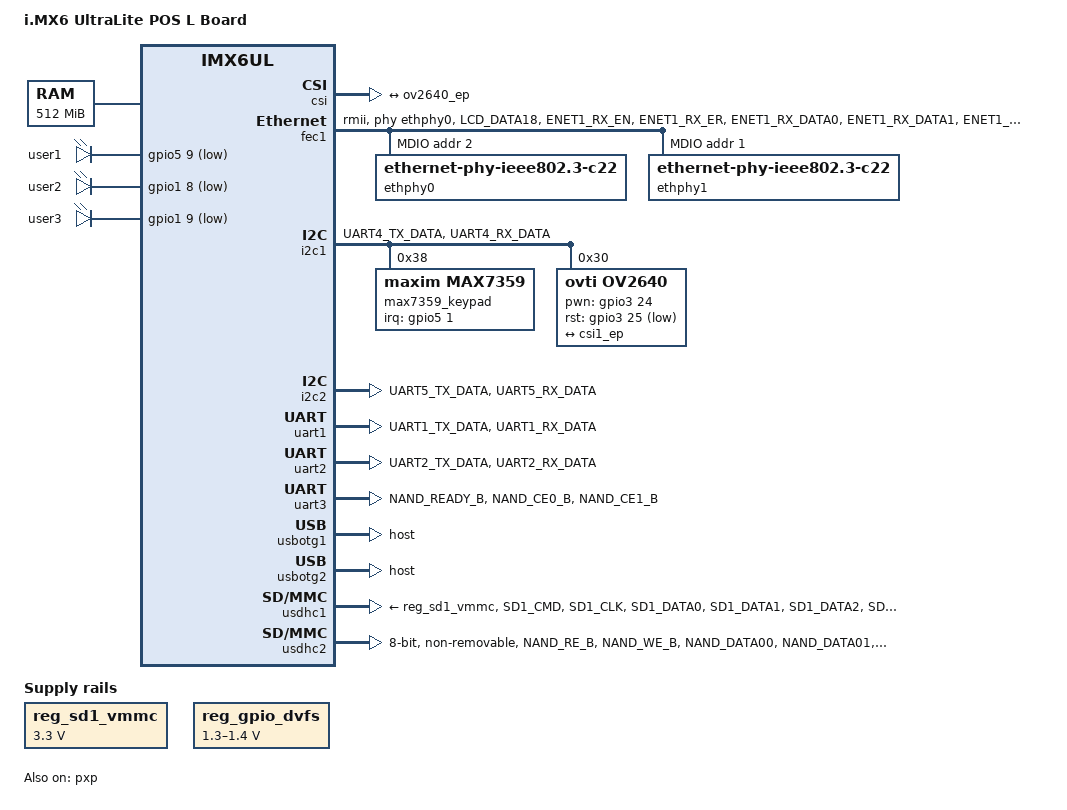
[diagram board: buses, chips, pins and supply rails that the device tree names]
/*
 * Copyright (C) 2015 Freescale Semiconductor, Inc.
 *
 * This program is free software; you can redistribute it and/or modify
 * it under the terms of the GNU General Public License version 2 as
 * published by the Free Software Foundation.
 */

/dts-v1/;

#include <dt-bindings/input/input.h>
#include "imx6ul.dtsi"

/ {
	model = "i.MX6 UltraLite POS L Board";
	compatible = "fsl,imx6ul-14x14-evk", "fsl,imx6ul";

	chosen {
		stdout-path = &uart1;
	};

	memory {
		reg = <0x80000000 0x20000000>;
	};

	reserved-memory {
		#address-cells = <1>;
		#size-cells = <1>;
		ranges;

		linux,cma {
			compatible = "shared-dma-pool";
			reusable;
			size = <0x14000000>;
			linux,cma-default;
		};
	};

	pxp_v4l2 {
		compatible = "fsl,imx6ul-pxp-v4l2", "fsl,imx6sx-pxp-v4l2", "fsl,imx6sl-pxp-v4l2";
		status = "okay";
	};

	regulators {
		compatible = "simple-bus";
		#address-cells = <1>;
		#size-cells = <0>;

		reg_sd1_vmmc: regulator@1 {
			compatible = "regulator-fixed";
			regulator-name = "VSD_3V3";
			regulator-min-microvolt = <3300000>;
			regulator-max-microvolt = <3300000>;
		};

		reg_gpio_dvfs: regulator-gpio {
			compatible = "regulator-gpio";
			pinctrl-names = "default";
			pinctrl-0 = <&pinctrl_dvfs>;
			regulator-min-microvolt = <1300000>;
			regulator-max-microvolt = <1400000>;
			regulator-name = "gpio_dvfs";
			regulator-type = "voltage";
			gpios = <&gpio5 3 GPIO_ACTIVE_HIGH>;
			states = <1300000 0x1 1400000 0x0>;
		};
	};

	leds {
		compatible = "gpio-leds";
		pinctrl-names = "default";
		pinctrl-0 = <&pinctrl_gpio_leds>;

		led0: user1 {
			label = "user1";
			gpios = <&gpio5 9 GPIO_ACTIVE_LOW>; /* 102 -> MX6_PANLEDG */
			default-state = "off";
			linux,default-trigger = "heartbeat";
		};

		led1: user2 {
			label = "user2";
			gpios = <&gpio1 8 GPIO_ACTIVE_LOW>; /* 106 -> MX6_PANLEDR */
			default-state = "off";
			linux,default-trigger = "mmc0";
		};

		led2: user3 {
			label = "user3";
			gpios = <&gpio1 9 GPIO_ACTIVE_LOW>; /* 111 -> MX6_LOCLED# */
			default-state = "off";
			linux,default-trigger = "mmc1";
		};
	};
};

&cpu0 {
	arm-supply = <&reg_arm>;
	soc-supply = <&reg_soc>;
	dc-supply = <&reg_gpio_dvfs>;
};

&clks {
	assigned-clocks = <&clks IMX6UL_CLK_PLL4_AUDIO_DIV>;
	assigned-clock-rates = <786432000>;
};

&csi {
	status = "okay";

	port {
		csi1_ep: endpoint {
			remote-endpoint = <&ov2640_ep>;
		};
	};
};

&fec1 {
	pinctrl-names = "default";
	pinctrl-0 = <&pinctrl_enet1>;
	phy-mode = "rmii";
	phy-handle = <&ethphy0>;
	phy-reset-gpios = <&gpio3 23 GPIO_ACTIVE_LOW>;
	phy-reset-duration = <100>;
	status = "okay";
	
	mdio {
		#address-cells = <1>;
		#size-cells = <0>;

		ethphy0: ethernet-phy@2 {
			compatible = "ethernet-phy-ieee802.3-c22";
			reg = <2>;
		};
		ethphy1: ethernet-phy@1 {
			compatible = "ethernet-phy-ieee802.3-c22";
			reg = <1>;
		};
	};
};

&fec2 {
	pinctrl-names = "default";
	pinctrl-0 = <&pinctrl_enet2>;
	phy-mode = "rmii";
	phy-handle = <&ethphy1>;
	status = "disabled";
};

&gpc {
	fsl,cpu_pupscr_sw2iso = <0x1>;
	fsl,cpu_pupscr_sw = <0x0>;
	fsl,cpu_pdnscr_iso2sw = <0x1>;
	fsl,cpu_pdnscr_iso = <0x1>;
	fsl,ldo-bypass = <0>; /* DCDC, ldo-enable */
};

&i2c1 {
	clock_frequency = <100000>;
	pinctrl-names = "default";
	pinctrl-0 = <&pinctrl_i2c1>;
	status = "okay";
	/* maxim keyboard max7359 */
	max7359_keypad@38 {
		pinctrl-0 = <&pinctrl_max7359>;
		compatible = "maxim,max7359";
		reg = <0x38>;
		interrupts = <1 IRQ_TYPE_LEVEL_LOW>;	/* gpio5[1] */
		interrupt-parent = <&gpio5>;
		maxim,debounce_reg = /bits/ 8 <0x1F>;
		maxim,ports_reg = /bits/ 8 <0xFF>;
		linux,keymap = <
			MATRIX_KEY(0, 0, KEY_1) /* row 0 col 0 */
			MATRIX_KEY(1, 0, KEY_2) /* row 1 col 0 */
			MATRIX_KEY(2, 0, KEY_3)
			MATRIX_KEY(3, 0, KEY_0)	/* s col 0~2 row 0~3*/
						
			MATRIX_KEY(0, 1, KEY_4)
			MATRIX_KEY(1, 1, KEY_5)
			MATRIX_KEY(2, 1, KEY_6)
			MATRIX_KEY(3, 1, KEY_BACKSPACE)

			MATRIX_KEY(0, 2, KEY_7)
			MATRIX_KEY(1, 2, KEY_8)
			MATRIX_KEY(2, 2, KEY_9)
			MATRIX_KEY(3, 2, KEY_ENTER)

			/* big key board row4..7 - col3..7 */
			MATRIX_KEY(4, 3, KEY_KP1)
			MATRIX_KEY(4, 4, KEY_KP2)
			MATRIX_KEY(4, 5, KEY_KP3)
			MATRIX_KEY(4, 6, KEY_A)
			MATRIX_KEY(4, 7, KEY_NUMLOCK)

			MATRIX_KEY(5, 3, KEY_KP4)
			MATRIX_KEY(5, 4, KEY_KP5)
			MATRIX_KEY(5, 5, KEY_KP6)
			MATRIX_KEY(5, 6, KEY_B)
			MATRIX_KEY(5, 7, KEY_KPPLUS)

			MATRIX_KEY(6, 3, KEY_KP7)
			MATRIX_KEY(6, 4, KEY_KP8)
			MATRIX_KEY(6, 5, KEY_KP9)
			MATRIX_KEY(6, 6, KEY_KPENTER)
			MATRIX_KEY(6, 7, KEY_RESERVED)

			MATRIX_KEY(7, 3, KEY_D)
			MATRIX_KEY(7, 4, KEY_KP0)
			MATRIX_KEY(7, 5, KEY_E)
			MATRIX_KEY(7, 6, KEY_C)
			MATRIX_KEY(7, 7, KEY_DELETE)

		>;
	};
	/* camera */
	ov2640: ov2640@30 {
		compatible = "ovti,ov2640";
		reg = <0x30>;
		pinctrl-names = "default";
		pinctrl-0 = <&pinctrl_csi1>;
		clocks = <&clks IMX6UL_CLK_CSI>;
		clock-names = "csi_mclk";
		pwn-gpios = <&gpio3 24 GPIO_ACTIVE_HIGH>;
		rst-gpios = <&gpio3 25 GPIO_ACTIVE_LOW>;
		csi_id = <0>;
		mclk = <24000000>;
		mclk_source = <0>;
		status = "okay";
		port {
			ov2640_ep: endpoint {
				remote-endpoint = <&csi1_ep>;
			};
		};
	};
};

&i2c2 {
	clock_frequency = <100000>;
	pinctrl-names = "default";
	pinctrl-0 = <&pinctrl_i2c2>;
	status = "okay";
	/* connect to lcd */
};

&iomuxc {
	pinctrl-names = "default";
	pinctrl-0 = <&pinctrl_hog_1>;
	imx6ul-evk {
		pinctrl_max7359: ma7359grp {
			fsl,pins = <
				MX6UL_PAD_SNVS_TAMPER1__GPIO5_IO01	0x80000000
			>;
		};
		pinctrl_hog_1: hoggrp-1 {
			fsl,pins = <
				MX6UL_PAD_UART1_RTS_B__GPIO1_IO19	0x17059 /* SD1 CD */
				MX6UL_PAD_GPIO1_IO05__USDHC1_VSELECT	0x17059 /* SD1 VSELECT */
				/* MX6UL_PAD_GPIO1_IO09__GPIO1_IO09        0x17059 SD1 RESET */
				MX6UL_PAD_SNVS_TAMPER0__GPIO5_IO00	0x80000000
				MX6UL_PAD_UART2_RTS_B__GPIO1_IO23	0x17059 /* BEEP */
				MX6UL_PAD_LCD_DATA19__GPIO3_IO24	0x17059	/* camera pwdn */
				MX6UL_PAD_LCD_DATA20__GPIO3_IO25	0x17059	/* camera reset */
			>;
		};
		pinctrl_csi1: csi1grp {
			fsl,pins = <
				MX6UL_PAD_CSI_MCLK__CSI_MCLK		0x1b088
				MX6UL_PAD_CSI_PIXCLK__CSI_PIXCLK	0x1b088
				MX6UL_PAD_CSI_VSYNC__CSI_VSYNC		0x1b088
				MX6UL_PAD_CSI_HSYNC__CSI_HSYNC		0x1b088
				MX6UL_PAD_CSI_DATA00__CSI_DATA02	0x1b088
				MX6UL_PAD_CSI_DATA01__CSI_DATA03	0x1b088
				MX6UL_PAD_CSI_DATA02__CSI_DATA04	0x1b088
				MX6UL_PAD_CSI_DATA03__CSI_DATA05	0x1b088
				MX6UL_PAD_CSI_DATA04__CSI_DATA06	0x1b088
				MX6UL_PAD_CSI_DATA05__CSI_DATA07	0x1b088
				MX6UL_PAD_CSI_DATA06__CSI_DATA08	0x1b088
				MX6UL_PAD_CSI_DATA07__CSI_DATA09	0x1b088
			>;
		};
		pinctrl_dvfs: dvfsgrp {
			fsl,pins = <
				MX6UL_PAD_SNVS_TAMPER3__GPIO5_IO03	0x79
			>;
		};

		pinctrl_enet1: enet1grp {
			fsl,pins = <
				MX6UL_PAD_LCD_DATA18__GPIO3_IO23	0x17059
				MX6UL_PAD_ENET1_RX_EN__ENET1_RX_EN	0x1b0b0
				MX6UL_PAD_ENET1_RX_ER__ENET1_RX_ER	0x1b0b0
				MX6UL_PAD_ENET1_RX_DATA0__ENET1_RDATA00	0x1b0b0
				MX6UL_PAD_ENET1_RX_DATA1__ENET1_RDATA01	0x1b0b0
				MX6UL_PAD_ENET1_TX_EN__ENET1_TX_EN	0x1b0b0
				MX6UL_PAD_ENET1_TX_DATA0__ENET1_TDATA00	0x1b0b0
				MX6UL_PAD_ENET1_TX_DATA1__ENET1_TDATA01	0x1b0b0
				MX6UL_PAD_ENET1_TX_CLK__ENET1_REF_CLK1	0x4001b031
				MX6UL_PAD_GPIO1_IO07__ENET1_MDC		0x1b0b0
				MX6UL_PAD_GPIO1_IO06__ENET1_MDIO	0x1b0b0
			>;
		};

		pinctrl_enet2: enet2grp {
			fsl,pins = <
				MX6UL_PAD_ENET2_RX_EN__ENET2_RX_EN	0x1b0b0
				MX6UL_PAD_ENET2_RX_ER__ENET2_RX_ER	0x1b0b0
				MX6UL_PAD_ENET2_RX_DATA0__ENET2_RDATA00	0x1b0b0
				MX6UL_PAD_ENET2_RX_DATA1__ENET2_RDATA01	0x1b0b0
				MX6UL_PAD_ENET2_TX_EN__ENET2_TX_EN	0x1b0b0
				MX6UL_PAD_ENET2_TX_DATA0__ENET2_TDATA00	0x1b0b0
				MX6UL_PAD_ENET2_TX_DATA1__ENET2_TDATA01	0x1b0b0
				MX6UL_PAD_ENET2_TX_CLK__ENET2_REF_CLK2	0x4001b031
			>;
		};

		pinctrl_i2c1: i2c1grp {
			fsl,pins = <
				MX6UL_PAD_UART4_TX_DATA__I2C1_SCL 0x4001b8b0
				MX6UL_PAD_UART4_RX_DATA__I2C1_SDA 0x4001b8b0
			>;
		};

		pinctrl_i2c2: i2c2grp {
			fsl,pins = <
				MX6UL_PAD_UART5_TX_DATA__I2C2_SCL 0x4001b8b0
				MX6UL_PAD_UART5_RX_DATA__I2C2_SDA 0x4001b8b0
			>;
		};

		pinctrl_uart1: uart1grp {
			fsl,pins = <
				MX6UL_PAD_UART1_TX_DATA__UART1_DCE_TX 0x1b0b1
				MX6UL_PAD_UART1_RX_DATA__UART1_DCE_RX 0x1b0b1
			>;
		};

		pinctrl_uart2: uart2grp {
			fsl,pins = <
				MX6UL_PAD_UART2_TX_DATA__UART2_DCE_TX	0x1b0b1
				MX6UL_PAD_UART2_RX_DATA__UART2_DCE_RX	0x1b0b1
			>;
		};
		
		pinctrl_uart3: uart3grp {
			fsl,pins = <
				MX6UL_PAD_NAND_READY_B__UART3_DCE_TX	0x1b0b1
				MX6UL_PAD_NAND_CE0_B__UART3_DCE_RX		0x1b0b1
				MX6UL_PAD_NAND_CE1_B__UART3_DCE_CTS 	0x1b0b1
			>;
		};

		pinctrl_usdhc1: usdhc1grp {
			fsl,pins = <
				MX6UL_PAD_SD1_CMD__USDHC1_CMD     0x17059
				MX6UL_PAD_SD1_CLK__USDHC1_CLK     0x10071
				MX6UL_PAD_SD1_DATA0__USDHC1_DATA0 0x17059
				MX6UL_PAD_SD1_DATA1__USDHC1_DATA1 0x17059
				MX6UL_PAD_SD1_DATA2__USDHC1_DATA2 0x17059
				MX6UL_PAD_SD1_DATA3__USDHC1_DATA3 0x17059
			>;
		};

		pinctrl_usdhc1_100mhz: usdhc1grp100mhz {
			fsl,pins = <
				MX6UL_PAD_SD1_CMD__USDHC1_CMD     0x170b9
				MX6UL_PAD_SD1_CLK__USDHC1_CLK     0x100b9
				MX6UL_PAD_SD1_DATA0__USDHC1_DATA0 0x170b9
				MX6UL_PAD_SD1_DATA1__USDHC1_DATA1 0x170b9
				MX6UL_PAD_SD1_DATA2__USDHC1_DATA2 0x170b9
				MX6UL_PAD_SD1_DATA3__USDHC1_DATA3 0x170b9
			>;
		};

		pinctrl_usdhc1_200mhz: usdhc1grp200mhz {
			fsl,pins = <
				MX6UL_PAD_SD1_CMD__USDHC1_CMD     0x170f9
				MX6UL_PAD_SD1_CLK__USDHC1_CLK     0x100f9
				MX6UL_PAD_SD1_DATA0__USDHC1_DATA0 0x170f9
				MX6UL_PAD_SD1_DATA1__USDHC1_DATA1 0x170f9
				MX6UL_PAD_SD1_DATA2__USDHC1_DATA2 0x170f9
				MX6UL_PAD_SD1_DATA3__USDHC1_DATA3 0x170f9
			>;
		};

		pinctrl_usdhc2: usdhc2grp {
			fsl,pins = <
				MX6UL_PAD_NAND_RE_B__USDHC2_CLK     0x10069
				MX6UL_PAD_NAND_WE_B__USDHC2_CMD     0x17059
				MX6UL_PAD_NAND_DATA00__USDHC2_DATA0 0x17059
				MX6UL_PAD_NAND_DATA01__USDHC2_DATA1 0x17059
				MX6UL_PAD_NAND_DATA02__USDHC2_DATA2 0x17059
				MX6UL_PAD_NAND_DATA03__USDHC2_DATA3 0x17059
			>;
		};

		pinctrl_usdhc2_8bit: usdhc2grp_8bit {
			fsl,pins = <
				MX6UL_PAD_NAND_RE_B__USDHC2_CLK     0x10069
				MX6UL_PAD_NAND_WE_B__USDHC2_CMD     0x17059
				MX6UL_PAD_NAND_DATA00__USDHC2_DATA0 0x17059
				MX6UL_PAD_NAND_DATA01__USDHC2_DATA1 0x17059
				MX6UL_PAD_NAND_DATA02__USDHC2_DATA2 0x17059
				MX6UL_PAD_NAND_DATA03__USDHC2_DATA3 0x17059
				MX6UL_PAD_NAND_DATA04__USDHC2_DATA4 0x17059
				MX6UL_PAD_NAND_DATA05__USDHC2_DATA5 0x17059
				MX6UL_PAD_NAND_DATA06__USDHC2_DATA6 0x17059
				MX6UL_PAD_NAND_DATA07__USDHC2_DATA7 0x17059
			>;
		};

		pinctrl_usdhc2_8bit_100mhz: usdhc2grp_8bit_100mhz {
			fsl,pins = <
				MX6UL_PAD_NAND_RE_B__USDHC2_CLK     0x100b9
				MX6UL_PAD_NAND_WE_B__USDHC2_CMD     0x170b9
				MX6UL_PAD_NAND_DATA00__USDHC2_DATA0 0x170b9
				MX6UL_PAD_NAND_DATA01__USDHC2_DATA1 0x170b9
				MX6UL_PAD_NAND_DATA02__USDHC2_DATA2 0x170b9
				MX6UL_PAD_NAND_DATA03__USDHC2_DATA3 0x170b9
				MX6UL_PAD_NAND_DATA04__USDHC2_DATA4 0x170b9
				MX6UL_PAD_NAND_DATA05__USDHC2_DATA5 0x170b9
				MX6UL_PAD_NAND_DATA06__USDHC2_DATA6 0x170b9
				MX6UL_PAD_NAND_DATA07__USDHC2_DATA7 0x170b9
			>;
		};

		pinctrl_usdhc2_8bit_200mhz: usdhc2grp_8bit_200mhz {
			fsl,pins = <
				MX6UL_PAD_NAND_RE_B__USDHC2_CLK     0x100f9
				MX6UL_PAD_NAND_WE_B__USDHC2_CMD     0x170f9
				MX6UL_PAD_NAND_DATA00__USDHC2_DATA0 0x170f9
				MX6UL_PAD_NAND_DATA01__USDHC2_DATA1 0x170f9
				MX6UL_PAD_NAND_DATA02__USDHC2_DATA2 0x170f9
				MX6UL_PAD_NAND_DATA03__USDHC2_DATA3 0x170f9
				MX6UL_PAD_NAND_DATA04__USDHC2_DATA4 0x170f9
				MX6UL_PAD_NAND_DATA05__USDHC2_DATA5 0x170f9
				MX6UL_PAD_NAND_DATA06__USDHC2_DATA6 0x170f9
				MX6UL_PAD_NAND_DATA07__USDHC2_DATA7 0x170f9
			>;
		};

		pinctrl_wdog: wdoggrp {
			fsl,pins = <
				MX6UL_PAD_LCD_RESET__WDOG1_WDOG_ANY    0x30b0
			>;
		};
		
		pinctrl_gpio_leds: gpioledsgrp {
			fsl,pins = <
				MX6UL_PAD_SNVS_TAMPER9__GPIO5_IO09	0x79 /* user1 led */
				MX6UL_PAD_GPIO1_IO08__GPIO1_IO08	0x17059 /* user2 led */
				MX6UL_PAD_GPIO1_IO09__GPIO1_IO09	0x17059 /* user3 led */
			>;
		};
	};
};

&pxp {
	status = "okay";
};

&uart1 {
	pinctrl-names = "default";
	pinctrl-0 = <&pinctrl_uart1>;
	status = "okay";
};

&uart2 {
	pinctrl-names = "default";
	pinctrl-0 = <&pinctrl_uart2>;
	status = "okay";
};

&uart3 {
	pinctrl-names = "default";
	pinctrl-0 = <&pinctrl_uart3>;
	fsl,uart-has-rtscts;
	rs485-rts-active-high;
	rs485-rts-delay = <0 0>;
	linux,rs485-enabled-at-boot-time;
	status = "okay";
};


&usbotg1 {
	dr_mode = "host";
	disable-over-current;
	status = "okay";
};

&usbotg2 {
	dr_mode = "host";
	disable-over-current;
	status = "okay";
};

&usbphy1 {
	tx-d-cal = <0x5>;
};

&usbphy2 {
	tx-d-cal = <0x5>;
};

&usdhc1 {
	pinctrl-names = "default", "state_100mhz", "state_200mhz";
	pinctrl-0 = <&pinctrl_usdhc1>;
	pinctrl-1 = <&pinctrl_usdhc1_100mhz>;
	pinctrl-2 = <&pinctrl_usdhc1_200mhz>;
	cd-gpios = <&gpio1 19 GPIO_ACTIVE_LOW>;
	keep-power-in-suspend;
	enable-sdio-wakeup;
	vmmc-supply = <&reg_sd1_vmmc>;
	status = "okay";
};

&usdhc2 {
	pinctrl-names = "default", "state_100mhz", "state_200mhz";
	pinctrl-0 = <&pinctrl_usdhc2_8bit>;
	pinctrl-1 = <&pinctrl_usdhc2_8bit_100mhz>;
	pinctrl-2 = <&pinctrl_usdhc2_8bit_200mhz>;
	bus-width = <8>;
	/* no-1-8-v; */
	non-removable;
	/* keep-power-in-suspend; */
	/* enable-sdio-wakeup; */
	status = "okay";
};

&wdog1 {
	pinctrl-names = "default";
	pinctrl-0 = <&pinctrl_wdog>;
	fsl,wdog_b;
};
